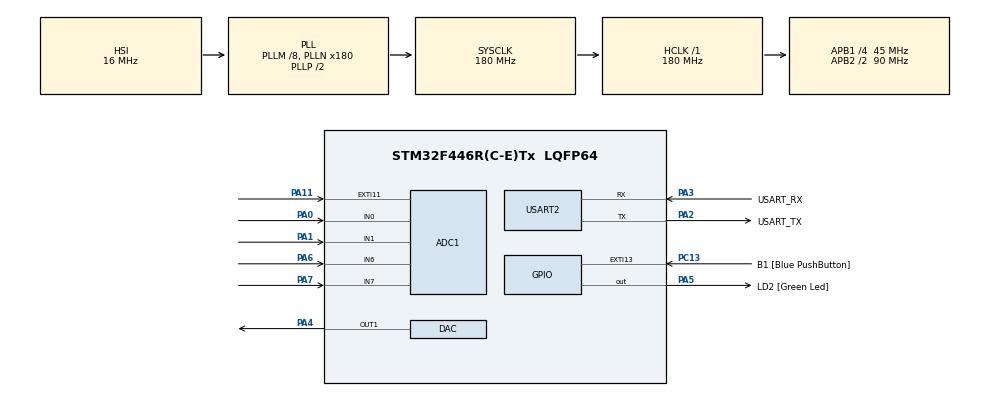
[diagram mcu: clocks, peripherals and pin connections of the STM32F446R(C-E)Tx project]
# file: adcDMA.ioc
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ADC1.Channel-0\#ChannelRegularConversion=ADC_CHANNEL_0
ADC1.Channel-1\#ChannelRegularConversion=ADC_CHANNEL_1
ADC1.Channel-2\#ChannelRegularConversion=ADC_CHANNEL_TEMPSENSOR
ADC1.ContinuousConvMode=ENABLE
ADC1.DMAContinuousRequests=ENABLE
ADC1.NbrOfConversion=3
ADC1.NbrOfConversionFlag=1
ADC1.Rank-0\#ChannelRegularConversion=1
ADC1.Rank-1\#ChannelRegularConversion=2
ADC1.Rank-2\#ChannelRegularConversion=3
ADC1.SamplingTime-0\#ChannelRegularConversion=ADC_SAMPLETIME_84CYCLES
ADC1.SamplingTime-1\#ChannelRegularConversion=ADC_SAMPLETIME_84CYCLES
ADC1.SamplingTime-2\#ChannelRegularConversion=ADC_SAMPLETIME_84CYCLES
ADC1.ScanConvMode=ENABLE
ADC1.master=1
Dma.ADC1.0.Direction=DMA_PERIPH_TO_MEMORY
Dma.ADC1.0.FIFOMode=DMA_FIFOMODE_DISABLE
Dma.ADC1.0.Instance=DMA2_Stream0
Dma.ADC1.0.MemDataAlignment=DMA_MDATAALIGN_HALFWORD
Dma.ADC1.0.MemInc=DMA_MINC_ENABLE
Dma.ADC1.0.Mode=DMA_CIRCULAR
Dma.ADC1.0.PeriphDataAlignment=DMA_PDATAALIGN_HALFWORD
Dma.ADC1.0.PeriphInc=DMA_PINC_DISABLE
Dma.ADC1.0.Priority=DMA_PRIORITY_LOW
Dma.Request0=ADC1
Mcu.Family=STM32F4
Mcu.Name=STM32F446R(C-E)Tx
Mcu.Package=LQFP64
NVIC.ADC_IRQn=true\:0\:0\:false\:false\:true\:true\:true\:true
NVIC.DMA2_Stream0_IRQn=true\:0\:0\:false\:false\:true\:false\:true\:true
NVIC.PriorityGroup=NVIC_PRIORITYGROUP_0
PA0-WKUP.Signal=ADCx_IN0
PA1.Signal=ADCx_IN1
PA11.Signal=GPXTI11
PA13.GPIO_Label=TMS
PA13.Mode=Trace_Asynchronous_SW
PA13.Signal=SYS_JTMS-SWDIO
PA14.GPIO_Label=TCK
PA14.Mode=Trace_Asynchronous_SW
PA14.Signal=SYS_JTCK-SWCLK
PA2.GPIO_Label=USART_TX
PA2.Mode=Asynchronous
PA2.Signal=USART2_TX
PA3.GPIO_Label=USART_RX
PA3.Mode=Asynchronous
PA3.Signal=USART2_RX
PA4.Signal=COMP_DAC1_group
PA5.GPIO_Label=LD2 [Green Led]
PA5.Signal=GPIO_Output
PA6.Signal=ADCx_IN6
PA7.Signal=ADCx_IN7
PB3.GPIO_Label=SWO
PB3.Mode=Trace_Asynchronous_SW
PB3.Signal=SYS_JTDO-SWO
PC13.GPIO_Label=B1 [Blue PushButton]
PC13.GPIO_ModeDefaultEXTI=GPIO_MODE_IT_FALLING
PC13.Signal=GPXTI13
PC14-OSC32_IN.Mode=LSE-External-Oscillator
PC14-OSC32_IN.Signal=RCC_OSC32_IN
PC15-OSC32_OUT.Mode=LSE-External-Oscillator
PC15-OSC32_OUT.Signal=RCC_OSC32_OUT
PH0-OSC_IN.Mode=HSE-External-Oscillator
PH0-OSC_IN.Signal=RCC_OSC_IN
PH1-OSC_OUT.Mode=HSE-External-Oscillator
PH1-OSC_OUT.Signal=RCC_OSC_OUT
ProjectManager.HeapSize=0x200
ProjectManager.StackSize=0x400
ProjectManager.TargetToolchain=STM32CubeIDE
RCC.48MHZClocksFreq_Value=84000000
RCC.AHBFreq_Value=180000000
RCC.APB1CLKDivider=RCC_HCLK_DIV4
RCC.APB1Freq_Value=45000000
RCC.APB1TimFreq_Value=90000000
RCC.APB2CLKDivider=RCC_HCLK_DIV2
RCC.APB2Freq_Value=90000000
RCC.APB2TimFreq_Value=180000000
RCC.CortexFreq_Value=180000000
RCC.FLatency-AdvancedSettings=FLASH_LATENCY_5
RCC.HCLKFreq_Value=180000000
RCC.HSE_VALUE=8000000
RCC.HSI_VALUE=16000000
RCC.PLLM=8
RCC.PLLN=180
RCC.SYSCLKFreq_VALUE=180000000
RCC.SYSCLKSource=RCC_SYSCLKSOURCE_PLLCLK
RCC.USBFreq_Value=180000000
RCC.VCOOutputFreq_Value=360000000
SH.ADCx_IN0.0=ADC1_IN0,IN0
SH.ADCx_IN0.1=ADC2_IN0
SH.ADCx_IN1.0=ADC1_IN1,IN1
SH.ADCx_IN1.1=ADC2_IN1
SH.ADCx_IN6.0=ADC1_IN6,IN6
SH.ADCx_IN7.0=ADC1_IN7,IN7
SH.COMP_DAC1_group.0=DAC_OUT1,DAC_OUT1
USART2.VirtualMode=VM_ASYNC
VP_ADC1_TempSens_Input.Mode=IN-TempSens
VP_TIM1_VS_ClockSourceITR.Mode=TriggerSource_ITR1
VP_TIM2_VS_ClockSourceITR.Mode=TriggerSource_ITR0
board=NUCLEO-F446RE

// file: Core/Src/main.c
/* USER CODE BEGIN Header */
/**
  ******************************************************************************
  * @file           : main.c
  * @brief          : Main program body
  ******************************************************************************
  * @attention
  *
  * Copyright (c) 2023 STMicroelectronics.
  * All rights reserved.
  *
  * This software is licensed under terms that can be found in the LICENSE file
  * in the root directory of this software component.
  * If no LICENSE file comes with this software, it is provided AS-IS.
  *
  ******************************************************************************
  */
/* USER CODE END Header */
#include "main.h"

/* USER CODE BEGIN Includes */
#include <stdio.h>
/* USER CODE END Includes */

ADC_HandleTypeDef hadc1;
DMA_HandleTypeDef hdma_adc1;

DAC_HandleTypeDef hdac;

TIM_HandleTypeDef htim1;
TIM_HandleTypeDef htim2;

UART_HandleTypeDef huart2;

/* USER CODE BEGIN PV */
uint16_t values[5] = {0, 0, 0, 0, 0};
uint16_t values2[3] = {0, 0, 0};
uint16_t audioValues[16] = {0, 0, 0, 0, 0, 0, 0, 0, 0, 0, 0, 0, 0, 0, 0, 0};
uint16_t potValues[16] = {0, 0, 0, 0, 0, 0, 0, 0, 0, 0, 0, 0, 0, 0, 0, 0};
uint16_t audioValues2[16] = {0, 0, 0, 0, 0, 0, 0, 0, 0, 0, 0, 0, 0, 0, 0, 0};
uint16_t potValues2[16] = {0, 0, 0, 0, 0, 0, 0, 0, 0, 0, 0, 0, 0, 0, 0, 0};
uint16_t delayValues[16]; //= //{0, 0, 0, 0, 0, 0, 0, 0, 0, 0, 0, 0, 0, 0, 0};
uint8_t buttonState;
uint8_t toggle = 0;
uint8_t toggled = 0;

//code start credits 'yetanotherelectronicschannel'

//delays form samples
#define CB0 3250*2
#define AP0 480*2

//define wet 0.0 - 1.0
float wet = 0.5f;
//define time delay 0.0 - 1.0
float time = 1.0f;

//define pointer limits = delay time
int cf0_lim, ap0_lim;

//define buffer for comb- and allpassfilters
float cfbuf0[CB0];
float apbuf0[AP0];
//feedback controll
float cf0_g = 0.805f;
float ap0_g = 0.7f;
//buffer-pointer
int cf0_p=0, ap0_p=0;

float Do_Comb0(float inSample)
{
	float readback = cfbuf0[cf0_p];
	float new = readback*cf0_g + inSample;
	cfbuf0[cf0_p] = new;
	cf0_p++;
	if (cf0_p==cf0_lim)
	{
		cf0_p = 0;
	}
	return readback;

}
float Do_Allpass0(float inSample)
{
	float readback = apbuf0[ap0_p];
	readback += (-ap0_g) * inSample;
	float new = readback*ap0_g + inSample;
	apbuf0[ap0_p] = new;
	ap0_p++;
	if (ap0_p == ap0_lim)
	{
		ap0_p = 0;
	}
	return readback;
}
float Do_Delay(float inSample) {
	float newsample = (Do_Comb0(inSample));
	newsample = Do_Allpass0(newsample);
	return newsample;
}
float Do_Trem(float inSample) {

}

// yetanotherelectronicschannel code credits end

//CMSIS DSP lib code credits start

/* Length of the overall data in the test */
#define TESTLENGTH 320
/* Block size for the underlying processing */
#define BLOCKSIZE 32
/* Total number of blocks to run */
#define NUMBLOCKS (TESTLENGTH/BLOCKSIZE)
/* Number of 2nd order Biquad stages per filter */
#define NUMSTAGES 2
#define SNR_THRESHOLD_F32  98
/* -------------------------------------------------------------------
 * External Declarations for Input and Output buffers
 * ------------------------------------------------------------------- */

/* ----------------------------------------------------------------------
** Q31 state buffers for Band1, Band2, Band3, Band4, Band5
** ------------------------------------------------------------------- */

/* ----------------------------------------------------------------------
** Q31 input and output buffers
** ------------------------------------------------------------------- */

/* ----------------------------------------------------------------------
** Entire coefficient table.  There are 10 coefficients per 4th order Biquad
** cascade filter.  The first 10 coefficients correspond to the -9 dB gain
** setting of band 1; the next 10 coefficient correspond to the -8 dB gain
** setting of band 1; and so on.  There are 10*19=190 coefficients in total
** for band 1 (gains = -9, -8, -7, ..., 9).  After this come the 190 coefficients
** for band 2.
**
** The coefficients are in Q29 format and require a postShift of 2.
** ------------------------------------------------------------------- */

/* ----------------------------------------------------------------------
** Desired gains, in dB, per band
** ------------------------------------------------------------------- */

/* ----------------------------------------------------------------------
 * Graphic equalizer Example
 * ------------------------------------------------------------------- */
//CMSIS DSP code credit end

/* USER CODE END PV */

void SystemClock_Config(void);
static void MX_GPIO_Init(void);
static void MX_DMA_Init(void);
static void MX_USART2_UART_Init(void);
static void MX_ADC1_Init(void);
static void MX_DAC_Init(void);
static void MX_TIM1_Init(void);
static void MX_TIM2_Init(void);
/* USER CODE BEGIN PFP */
float  convertAnalogToTemperature(unsigned int analogReadValue);
int approximateTemperatureInt(unsigned int analogReadValue);
float  approximateTemperatureFloat(unsigned int analogReadValue);
void arrayDump(uint8_t position);
uint16_t getAverage(uint16_t values[]);

/* USER CODE END PFP */

/* USER CODE BEGIN 0 */
int _write(int file, char *ptr, int len)
{
	int DataIdx;
	for(DataIdx = 0; DataIdx < len; DataIdx++)
	{
		ITM_SendChar(*ptr++);
	}
	return len;
}
/* USER CODE END 0 */

int main(void)
{

  /* USER CODE BEGIN 1 */
	//code credits start 'yetanotherelectronicschannel'
	cf0_lim = (int)(time*CB0);
	ap0_lim = (int)(time*AP0);
	//code credits end

	int i;

	int32_t status;

	// intiialize the state for each state and coffecient

  /* USER CODE END 1 */

  /* MCU Configuration--------------------------------------------------------*/

  /* Reset of all peripherals, Initializes the Flash interface and the Systick. */
  HAL_Init();

  /* Configure the system clock */
  SystemClock_Config();

  /* Initialize all configured peripherals */
  MX_GPIO_Init();
  MX_DMA_Init();
  MX_USART2_UART_Init();
  MX_ADC1_Init();
  MX_DAC_Init();
  MX_TIM1_Init();
  MX_TIM2_Init();
  /* USER CODE BEGIN 2 */
  HAL_ADC_Start_DMA(&hadc1, values, 5);
  //HAL_ADC_Start_ADC(&hadc2, values2, 3);
  HAL_DAC_Start(&hdac, DAC_CHANNEL_1);
  /* USER CODE END 2 */

  /* Infinite loop */
  /* USER CODE BEGIN WHILE */
  uint8_t position = 0;
  uint8_t timer = 0;
  uint16_t delayVal = 0;
  uint16_t delaySet = 0;
  uint16_t delayMix = 8;

  uint8_t currentButtonState = 1;
  uint8_t previousButtonState = 1;

  while (1)
  {

	if(position == 16) //reset the position when the buffer is full
	{
		position = 0;
	}
	  arrayDump(position);
	  uint16_t audioVal = getAverage(audioValues) * ((getAverage(potValues) / 4096.0f) * 6.6f); //filter for average and adjust volume
	  uint16_t audioVal2 = getAverage(audioValues2) * ((getAverage(potValues2) / 4096.0f) * 6.6f);
	  //audioVal = (1.0f-wet)*audioVal + wet*Do_Delay(audioVal);

	  currentButtonState = HAL_GPIO_ReadPin(B1_GPIO_Port, B1_Pin); //check to see if the button is pressed

	  if(currentButtonState == 1 && toggled == 0){
		  toggle = toggle ? 0: 1;
		  toggled = 1;
	  }
	  if(currentButtonState == 0){
		  toggled = 0;
	  }

	  if (toggle == 1)
	  {
	  	  audioVal = (1.0f-wet)*audioVal + wet*Do_Delay(audioVal);

	  	  if (currentButtonState == 0 && previousButtonState == 0)
		  {
	  			  toggle = 0;
	  			  previousButtonState = 1;
 		  }
 	  }

	  //get a previous audio value
	  //delayValues[position] = audioVal * 0.5f; //store the current audio value in an array

	  //audioVal = delayValues[delayMix] * audioVal; //mix the audio value with the delay value

	  //reset delay mix to 0
	  //delayMix++;
	  //if (delayMix == 16)
	  //{
	  //	  delayMix = 0;
	  //}

	  HAL_DAC_SetValue(&hdac, DAC_CHANNEL_1, DAC_ALIGN_12B_R, audioVal); //set the dac value to the audio value
	  HAL_DAC_SetValue(&hdac, DAC_CHANNEL_1, DAC_ALIGN_12B_R, audioVal2);
	  //DAC1->DHR12R1 = getAverage(potValues);
	  position ++;
	  delayMix++;

		switch(position % 2)
		{
		case 0:
			if(timer == 0)
			{
				timer = 1;
				HAL_GPIO_WritePin(LD2_GPIO_Port, LD2_Pin, GPIO_PIN_SET);
			}
			else
			{
				timer = 0;
				HAL_GPIO_WritePin(LD2_GPIO_Port, LD2_Pin, GPIO_PIN_RESET);
			}
			break;
		default:
			break;

		}

    /* USER CODE END WHILE */

  }
}

void SystemClock_Config(void)
{
  RCC_OscInitTypeDef RCC_OscInitStruct = {0};
  RCC_ClkInitTypeDef RCC_ClkInitStruct = {0};

  /** Configure the main internal regulator output voltage
  */
  __HAL_RCC_PWR_CLK_ENABLE();
  __HAL_PWR_VOLTAGESCALING_CONFIG(PWR_REGULATOR_VOLTAGE_SCALE1);

  /** Initializes the RCC Oscillators according to the specified parameters
  * in the RCC_OscInitTypeDef structure.
  */
  RCC_OscInitStruct.OscillatorType = RCC_OSCILLATORTYPE_HSI;
  RCC_OscInitStruct.HSIState = RCC_HSI_ON;
  RCC_OscInitStruct.HSICalibrationValue = RCC_HSICALIBRATION_DEFAULT;
  RCC_OscInitStruct.PLL.PLLState = RCC_PLL_ON;
  RCC_OscInitStruct.PLL.PLLSource = RCC_PLLSOURCE_HSI;
  RCC_OscInitStruct.PLL.PLLM = 8;
  RCC_OscInitStruct.PLL.PLLN = 180;
  RCC_OscInitStruct.PLL.PLLP = RCC_PLLP_DIV2;
  RCC_OscInitStruct.PLL.PLLQ = 2;
  RCC_OscInitStruct.PLL.PLLR = 2;
  if (HAL_RCC_OscConfig(&RCC_OscInitStruct) != HAL_OK)
  {
    Error_Handler();
  }

  /** Activate the Over-Drive mode
  */
  if (HAL_PWREx_EnableOverDrive() != HAL_OK)
  {
    Error_Handler();
  }

  /** Initializes the CPU, AHB and APB buses clocks
  */
  RCC_ClkInitStruct.ClockType = RCC_CLOCKTYPE_HCLK|RCC_CLOCKTYPE_SYSCLK
                              |RCC_CLOCKTYPE_PCLK1|RCC_CLOCKTYPE_PCLK2;
  RCC_ClkInitStruct.SYSCLKSource = RCC_SYSCLKSOURCE_PLLCLK;
  RCC_ClkInitStruct.AHBCLKDivider = RCC_SYSCLK_DIV1;
  RCC_ClkInitStruct.APB1CLKDivider = RCC_HCLK_DIV4;
  RCC_ClkInitStruct.APB2CLKDivider = RCC_HCLK_DIV2;

  if (HAL_RCC_ClockConfig(&RCC_ClkInitStruct, FLASH_LATENCY_5) != HAL_OK)
  {
    Error_Handler();
  }
}

static void MX_ADC1_Init(void)
{

  ADC_ChannelConfTypeDef sConfig = {0};

  /** Configure the global features of the ADC (Clock, Resolution, Data Alignment and number of conversion)
  */
  hadc1.Instance = ADC1;
  hadc1.Init.ClockPrescaler = ADC_CLOCK_SYNC_PCLK_DIV4;
  hadc1.Init.Resolution = ADC_RESOLUTION_12B;
  hadc1.Init.ScanConvMode = ENABLE;
  hadc1.Init.ContinuousConvMode = ENABLE;
  hadc1.Init.DiscontinuousConvMode = DISABLE;
  hadc1.Init.ExternalTrigConvEdge = ADC_EXTERNALTRIGCONVEDGE_RISING;
  hadc1.Init.ExternalTrigConv = ADC_EXTERNALTRIGCONV_Ext_IT11;
  hadc1.Init.DataAlign = ADC_DATAALIGN_RIGHT;
  hadc1.Init.NbrOfConversion = 3;
  hadc1.Init.DMAContinuousRequests = ENABLE;
  hadc1.Init.EOCSelection = ADC_EOC_SINGLE_CONV;
  if (HAL_ADC_Init(&hadc1) != HAL_OK)
  {
    Error_Handler();
  }

  /** Configure for the selected ADC regular channel its corresponding rank in the sequencer and its sample time.
  */
  sConfig.Channel = ADC_CHANNEL_0;
  sConfig.Rank = 1;
  sConfig.SamplingTime = ADC_SAMPLETIME_84CYCLES;
  if (HAL_ADC_ConfigChannel(&hadc1, &sConfig) != HAL_OK)
  {
    Error_Handler();
  }

  /** Configure for the selected ADC regular channel its corresponding rank in the sequencer and its sample time.
  */
  sConfig.Channel = ADC_CHANNEL_1;
  sConfig.Rank = 2;
  if (HAL_ADC_ConfigChannel(&hadc1, &sConfig) != HAL_OK)
  {
    Error_Handler();
  }

  /** Configure for the selected ADC regular channel its corresponding rank in the sequencer and its sample time.
  */
  sConfig.Channel = ADC_CHANNEL_TEMPSENSOR;
  sConfig.Rank = 3;
  if (HAL_ADC_ConfigChannel(&hadc1, &sConfig) != HAL_OK)
  {
    Error_Handler();
  }

}

static void MX_DAC_Init(void)
{

  DAC_ChannelConfTypeDef sConfig = {0};

  /** DAC Initialization
  */
  hdac.Instance = DAC;
  if (HAL_DAC_Init(&hdac) != HAL_OK)
  {
    Error_Handler();
  }

  /** DAC channel OUT1 config
  */
  sConfig.DAC_Trigger = DAC_TRIGGER_NONE;
  sConfig.DAC_OutputBuffer = DAC_OUTPUTBUFFER_ENABLE;
  if (HAL_DAC_ConfigChannel(&hdac, &sConfig, DAC_CHANNEL_1) != HAL_OK)
  {
    Error_Handler();
  }

}

static void MX_TIM1_Init(void)
{

  TIM_SlaveConfigTypeDef sSlaveConfig = {0};
  TIM_MasterConfigTypeDef sMasterConfig = {0};

  htim1.Instance = TIM1;
  htim1.Init.Prescaler = 0;
  htim1.Init.CounterMode = TIM_COUNTERMODE_UP;
  htim1.Init.Period = 65535;
  htim1.Init.ClockDivision = TIM_CLOCKDIVISION_DIV1;
  htim1.Init.RepetitionCounter = 0;
  htim1.Init.AutoReloadPreload = TIM_AUTORELOAD_PRELOAD_DISABLE;
  if (HAL_TIM_Base_Init(&htim1) != HAL_OK)
  {
    Error_Handler();
  }
  sSlaveConfig.SlaveMode = TIM_SLAVEMODE_DISABLE;
  sSlaveConfig.InputTrigger = TIM_TS_ITR1;
  if (HAL_TIM_SlaveConfigSynchro(&htim1, &sSlaveConfig) != HAL_OK)
  {
    Error_Handler();
  }
  sMasterConfig.MasterOutputTrigger = TIM_TRGO_RESET;
  sMasterConfig.MasterSlaveMode = TIM_MASTERSLAVEMODE_DISABLE;
  if (HAL_TIMEx_MasterConfigSynchronization(&htim1, &sMasterConfig) != HAL_OK)
  {
    Error_Handler();
  }

}

static void MX_TIM2_Init(void)
{

  TIM_SlaveConfigTypeDef sSlaveConfig = {0};
  TIM_MasterConfigTypeDef sMasterConfig = {0};

  htim2.Instance = TIM2;
  htim2.Init.Prescaler = 0;
  htim2.Init.CounterMode = TIM_COUNTERMODE_UP;
  htim2.Init.Period = 4294967295;
  htim2.Init.ClockDivision = TIM_CLOCKDIVISION_DIV1;
  htim2.Init.AutoReloadPreload = TIM_AUTORELOAD_PRELOAD_DISABLE;
  if (HAL_TIM_Base_Init(&htim2) != HAL_OK)
  {
    Error_Handler();
  }
  sSlaveConfig.SlaveMode = TIM_SLAVEMODE_DISABLE;
  sSlaveConfig.InputTrigger = TIM_TS_ITR0;
  if (HAL_TIM_SlaveConfigSynchro(&htim2, &sSlaveConfig) != HAL_OK)
  {
    Error_Handler();
  }
  sMasterConfig.MasterOutputTrigger = TIM_TRGO_RESET;
  sMasterConfig.MasterSlaveMode = TIM_MASTERSLAVEMODE_DISABLE;
  if (HAL_TIMEx_MasterConfigSynchronization(&htim2, &sMasterConfig) != HAL_OK)
  {
    Error_Handler();
  }

}

static void MX_USART2_UART_Init(void)
{

  huart2.Instance = USART2;
  huart2.Init.BaudRate = 115200;
  huart2.Init.WordLength = UART_WORDLENGTH_8B;
  huart2.Init.StopBits = UART_STOPBITS_1;
  huart2.Init.Parity = UART_PARITY_NONE;
  huart2.Init.Mode = UART_MODE_TX_RX;
  huart2.Init.HwFlowCtl = UART_HWCONTROL_NONE;
  huart2.Init.OverSampling = UART_OVERSAMPLING_16;
  if (HAL_UART_Init(&huart2) != HAL_OK)
  {
    Error_Handler();
  }

}

static void MX_DMA_Init(void)
{

  /* DMA controller clock enable */
  __HAL_RCC_DMA2_CLK_ENABLE();

  /* DMA interrupt init */
  /* DMA2_Stream0_IRQn interrupt configuration */
  HAL_NVIC_SetPriority(DMA2_Stream0_IRQn, 0, 0);
  HAL_NVIC_EnableIRQ(DMA2_Stream0_IRQn);

}

static void MX_GPIO_Init(void)
{
  GPIO_InitTypeDef GPIO_InitStruct = {0};

  /* GPIO Ports Clock Enable */
  __HAL_RCC_GPIOC_CLK_ENABLE();
  __HAL_RCC_GPIOH_CLK_ENABLE();
  __HAL_RCC_GPIOA_CLK_ENABLE();
  __HAL_RCC_GPIOB_CLK_ENABLE();

  /*Configure GPIO pin Output Level */
  HAL_GPIO_WritePin(LD2_GPIO_Port, LD2_Pin, GPIO_PIN_RESET);

  /*Configure GPIO pin : B1_Pin */
  GPIO_InitStruct.Pin = B1_Pin;
  GPIO_InitStruct.Mode = GPIO_MODE_IT_FALLING;
  GPIO_InitStruct.Pull = GPIO_NOPULL;
  HAL_GPIO_Init(B1_GPIO_Port, &GPIO_InitStruct);

  /*Configure GPIO pins : PA0 PA1 */
  GPIO_InitStruct.Pin = GPIO_PIN_0|GPIO_PIN_1;
  GPIO_InitStruct.Mode = GPIO_MODE_ANALOG;
  GPIO_InitStruct.Pull = GPIO_NOPULL;
  HAL_GPIO_Init(GPIOA, &GPIO_InitStruct);

  /*Configure GPIO pin : LD2_Pin */
  GPIO_InitStruct.Pin = LD2_Pin;
  GPIO_InitStruct.Mode = GPIO_MODE_OUTPUT_PP;
  GPIO_InitStruct.Pull = GPIO_NOPULL;
  GPIO_InitStruct.Speed = GPIO_SPEED_FREQ_LOW;
  HAL_GPIO_Init(LD2_GPIO_Port, &GPIO_InitStruct);

  /*Configure GPIO pin : PA11 */
  GPIO_InitStruct.Pin = GPIO_PIN_11;
  GPIO_InitStruct.Mode = GPIO_MODE_IT_RISING;
  GPIO_InitStruct.Pull = GPIO_NOPULL;
  HAL_GPIO_Init(GPIOA, &GPIO_InitStruct);

}

/* USER CODE BEGIN 4 */
void arrayDump(uint8_t position)
{
	audioValues[position] = values[0];
	potValues[position] = values[1];

	audioValues2[position] = values[2];
	potValues2[position] = values[3];
}

uint16_t getAverage(uint16_t values[])
{
	uint32_t temp = 0;
	for(int i = 0; i < 16; i++)
	{
		temp += values[i];
	}
	return (temp / 16);
}
/* USER CODE END 4 */

void Error_Handler(void)
{
  __disable_irq();
  while (1)
  {
  }
}
